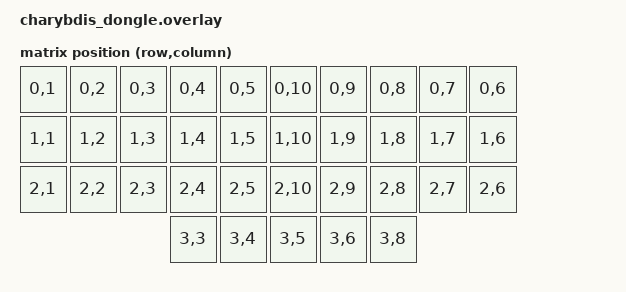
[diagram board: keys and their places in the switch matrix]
// Documentation: https://zmk.dev/docs/development/hardware-integration/dongle
#include <dt-bindings/zmk/matrix_transform.h>
#include "charybdis-layouts.dtsi"

&charybdis_physical_layout {
    transform = <&five_column_transform>;
};

/ {
    chosen {
        zephyr,display      = &oled;
        zmk,kscan           = &kscan0;
        zmk,physical-layout = &charybdis_physical_layout;
        zmk,input-device    = &trackball_split;
    };

    kscan0: kscan_1 {
        compatible = "zmk,kscan-mock";
        columns    = <0>;
        rows       = <0>;
        events     = <0>;
    };

    split_inputs {
        #address-cells = <1>;
        #size-cells = <0>;

        trackball_split: trackball_split@0 {
            compatible = "zmk,input-split";
            reg = <0>;
        };
    };

    trackball_listener: trackball_listener {
        compatible = "zmk,input-listener";
        status = "disabled";
        device = <&trackball_split>;
    };

    five_column_transform: keymap_transform_0 {
        compatible = "zmk,matrix-transform";
        columns = <10>;
        rows = <4>;

        map = <
	RC(0,1) RC(0,2) RC(0,3) RC(0,4) RC(0,5)  RC(0,10) RC(0,9) RC(0,8) RC(0,7) RC(0,6)
	RC(1,1) RC(1,2) RC(1,3) RC(1,4) RC(1,5)  RC(1,10) RC(1,9) RC(1,8) RC(1,7) RC(1,6)
	RC(2,1) RC(2,2) RC(2,3) RC(2,4) RC(2,5)  RC(2,10) RC(2,9) RC(2,8) RC(2,7) RC(2,6)
							RC(3,3) RC(3,4) RC(3,5)  RC(3,6)  RC(3,8)
        >;
    };

    central: bt_central {
        compatible = "zmk,ble-central";
        peripherals = <&left_peripheral &right_peripheral>;
    };

    left_peripheral: bt_left {
        compatible = "zmk,ble-peripheral";
        local-name = "charybdis_left";
    };

    right_peripheral: bt_right {
        compatible = "zmk,ble-peripheral";
        local-name = "charybdis_right";
    };
};

&trackball_split {
    status = "okay";
};

/* enable the listener on central */
&trackball_listener {
    status = "okay";
};

#include "charybdis_pointer.dtsi"

&pro_micro_i2c {
    status = "okay";

    oled: ssd1306@3c {
        compatible = "solomon,ssd1306fb";
        reg = <0x3c>;
        width = <128>;
        height = <64>;
        segment-offset = <0>;
        page-offset = <0>;
        display-offset = <0>;
        multiplex-ratio = <63>;
        segment-remap;
        com-invdir;
        inversion-on;
        prechargep = <0x22>;
    };
};
